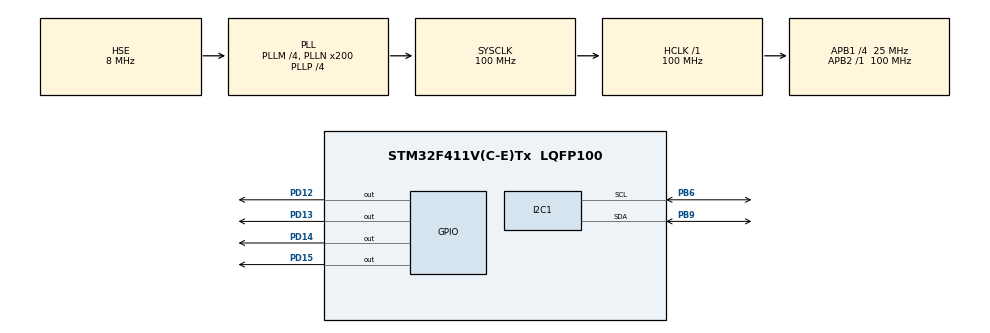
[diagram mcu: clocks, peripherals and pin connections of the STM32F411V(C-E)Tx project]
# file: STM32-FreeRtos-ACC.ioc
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FREERTOS.Tasks01=defaultTask,2,128,StartDefaultTask,Default,NULL,Dynamic,NULL,NULL;myTask02,0,128,StartTask02,Default,NULL,Dynamic,NULL,NULL
Mcu.Family=STM32F4
Mcu.Name=STM32F411V(C-E)Tx
Mcu.Package=LQFP100
NVIC.PriorityGroup=NVIC_PRIORITYGROUP_4
NVIC.TIM1_BRK_TIM9_IRQn=true\:0\:0\:false\:false\:true\:false\:false\:true
NVIC.TimeBase=TIM1_BRK_TIM9_IRQn
NVIC.TimeBaseIP=TIM9
PB6.Mode=I2C
PB6.Signal=I2C1_SCL
PB9.Mode=I2C
PB9.Signal=I2C1_SDA
PC14-OSC32_IN.Mode=LSE-External-Oscillator
PC14-OSC32_IN.Signal=RCC_OSC32_IN
PC15-OSC32_OUT.Mode=LSE-External-Oscillator
PC15-OSC32_OUT.Signal=RCC_OSC32_OUT
PD12.GPIO_Speed=GPIO_SPEED_FREQ_HIGH
PD12.Signal=GPIO_Output
PD13.GPIO_Speed=GPIO_SPEED_FREQ_HIGH
PD13.Signal=GPIO_Output
PD14.GPIO_Speed=GPIO_SPEED_FREQ_HIGH
PD14.Signal=GPIO_Output
PD15.GPIO_Speed=GPIO_SPEED_FREQ_HIGH
PD15.Signal=GPIO_Output
PH0\ -\ OSC_IN.Mode=HSE-External-Oscillator
PH0\ -\ OSC_IN.Signal=RCC_OSC_IN
PH1\ -\ OSC_OUT.Mode=HSE-External-Oscillator
PH1\ -\ OSC_OUT.Signal=RCC_OSC_OUT
ProjectManager.HeapSize=0x200
ProjectManager.StackSize=0x400
ProjectManager.TargetToolchain=MDK-ARM V5
RCC.48MHZClocksFreq_Value=100000000
RCC.AHBFreq_Value=100000000
RCC.APB1CLKDivider=RCC_HCLK_DIV4
RCC.APB1Freq_Value=25000000
RCC.APB1TimFreq_Value=50000000
RCC.APB2Freq_Value=100000000
RCC.APB2TimFreq_Value=100000000
RCC.CortexFreq_Value=100000000
RCC.HCLKFreq_Value=100000000
RCC.HSE_VALUE=8000000
RCC.HSI_VALUE=16000000
RCC.PLLM=4
RCC.PLLN=200
RCC.PLLP=RCC_PLLP_DIV4
RCC.PLLSourceVirtual=RCC_PLLSOURCE_HSE
RCC.SYSCLKFreq_VALUE=100000000
RCC.SYSCLKSource=RCC_SYSCLKSOURCE_PLLCLK
RCC.VCOOutputFreq_Value=400000000
VP_FREERTOS_VS_CMSIS_V1.Mode=CMSIS_V1
VP_SYS_VS_tim9.Mode=TIM9
board=custom

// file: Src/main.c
/* USER CODE BEGIN Header */
/**
  ******************************************************************************
  * @file           : main.c
  * @brief          : Main program body
  ******************************************************************************
  * @attention
  *
  * <h2><center>&copy; Copyright (c) 2019 STMicroelectronics.
  * All rights reserved.</center></h2>
  *
  * This software component is licensed by ST under Ultimate Liberty license
  * SLA0044, the "License"; You may not use this file except in compliance with
  * the License. You may obtain a copy of the License at:
  *                             www.st.com/SLA0044
  *
  ******************************************************************************
  */
/* USER CODE END Header */

#include "main.h"
#include "cmsis_os.h"

#include "math.h"
#include "limits.h"
/* USER CODE BEGIN Includes */
//Register
#define LSM303_ACC_ADDRESS (0x19 << 1) // address of accelerometer: 0011 001x
#define LSM303_ACC_CTRL_REG1_A 0x20 // settings register 1
#define LSM303_ACC_CTRL_REG3_A 0x22 // setting register 3
#define LSM303_ACC_Z_H_A 0x2D // higher byte of Z axis data
#define LSM303_ACC_Z_L_A 0x2C // lower byte of Z axis data
#define LSM303_ACC_X_L_A 0x28 // lower byte of X axis data

// to read more data at once
#define LSM303_ACC_Z_L_A_MULTI_READ (LSM303_ACC_Z_L_A | 0x80)

// to read more data at once
#define LSM303_ACC_X_L_A_MULTI_READ (LSM303_ACC_X_L_A | 0x80)

// Bit masks
// CTRL_REG1_A = [ODR3][ODR2][ODR1][ODR0][LPEN][ZEN][YEN][XEN]
#define LSM303_ACC_Z_ENABLE 0x04 // 0000 0100
#define LSM303_ACC_XYZ_ENABLE 0x07 // 0000 0111
#define LSM303_ACC_100HZ 0x50 //0101 0000
#define LSM303_ACC_1HZ 0x10 //0001 0000

// CTRL_REG3_A = [CLICK][AOI1][AOI2][DRDY_1][DRDY_2][WTM][OVERRUN][---]
#define LSM303_ACC_I1_DRDY1 0x10 //0001 0000
#define LSM303_ACC_I1_DRDY2 0x08 //0000 1000

#define LSM303_ACC_RESOLUTION 2.0 // Maximum value of measurable acceleration [g]

// Variables
uint8_t Data[6]; // Variable for direct data reading from the accelerometer
int16_t Xaxis = 0; // Contains a transformed form of data read from the X axis
int16_t Yaxis = 0; // Contains a transformed form of data read from the Y axis
int16_t Zaxis = 0; // Contains a transformed form of data read from the Z axis

float Xaxis_g = 0 ; // Contains the acceleration in the X axis, expanded to physical unit [g]
float Yaxis_g = 0; // Contains the acceleration in the Y axis, expanded to physical unit [g]
float Zaxis_g = 0; // Contains the acceleration in the Z axis, expanded to physical unit [g]

/* USER CODE END Includes */

I2C_HandleTypeDef hi2c1;

osThreadId defaultTaskHandle;
osThreadId myTask02Handle;

void SystemClock_Config(void);
static void MX_GPIO_Init(void);
static void MX_I2C1_Init(void);
void StartDefaultTask(void const * argument);
void StartTask02(void const * argument);

int main(void)
{

  /* MCU Configuration--------------------------------------------------------*/

  /* Reset of all peripherals, Initializes the Flash interface and the Systick. */
  HAL_Init();

  /* Configure the system clock */
  SystemClock_Config();

  /* Initialize all configured peripherals */
  MX_GPIO_Init();
  MX_I2C1_Init();

  /* Create the thread(s) */
  /* definition and creation of defaultTask */
  osThreadDef(defaultTask, StartDefaultTask, osPriorityHigh, 0, 128);
  defaultTaskHandle = osThreadCreate(osThread(defaultTask), NULL);

  /* definition and creation of myTask02 */
  osThreadDef(myTask02, StartTask02, osPriorityNormal, 0, 128);
  myTask02Handle = osThreadCreate(osThread(myTask02), NULL);

  /* Start scheduler */
  osKernelStart();

  /* We should never get here as control is now taken by the scheduler */

  /* Infinite loop */
  while (1)
  {

  }
}

void SystemClock_Config(void)
{
  RCC_OscInitTypeDef RCC_OscInitStruct = {0};
  RCC_ClkInitTypeDef RCC_ClkInitStruct = {0};

  /** Configure the main internal regulator output voltage
  */
  __HAL_RCC_PWR_CLK_ENABLE();
  __HAL_PWR_VOLTAGESCALING_CONFIG(PWR_REGULATOR_VOLTAGE_SCALE1);
  /** Initializes the CPU, AHB and APB busses clocks
  */
  RCC_OscInitStruct.OscillatorType = RCC_OSCILLATORTYPE_HSE;
  RCC_OscInitStruct.HSEState = RCC_HSE_ON;
  RCC_OscInitStruct.PLL.PLLState = RCC_PLL_ON;
  RCC_OscInitStruct.PLL.PLLSource = RCC_PLLSOURCE_HSE;
  RCC_OscInitStruct.PLL.PLLM = 4;
  RCC_OscInitStruct.PLL.PLLN = 200;
  RCC_OscInitStruct.PLL.PLLP = RCC_PLLP_DIV4;
  RCC_OscInitStruct.PLL.PLLQ = 4;
  if (HAL_RCC_OscConfig(&RCC_OscInitStruct) != HAL_OK)
  {
    Error_Handler();
  }
  /** Initializes the CPU, AHB and APB busses clocks
  */
  RCC_ClkInitStruct.ClockType = RCC_CLOCKTYPE_HCLK|RCC_CLOCKTYPE_SYSCLK
                              |RCC_CLOCKTYPE_PCLK1|RCC_CLOCKTYPE_PCLK2;
  RCC_ClkInitStruct.SYSCLKSource = RCC_SYSCLKSOURCE_PLLCLK;
  RCC_ClkInitStruct.AHBCLKDivider = RCC_SYSCLK_DIV1;
  RCC_ClkInitStruct.APB1CLKDivider = RCC_HCLK_DIV4;
  RCC_ClkInitStruct.APB2CLKDivider = RCC_HCLK_DIV1;

  if (HAL_RCC_ClockConfig(&RCC_ClkInitStruct, FLASH_LATENCY_3) != HAL_OK)
  {
    Error_Handler();
  }
}

static void MX_I2C1_Init(void)
{

  hi2c1.Instance = I2C1;
  hi2c1.Init.ClockSpeed = 100000;
  hi2c1.Init.DutyCycle = I2C_DUTYCYCLE_2;
  hi2c1.Init.OwnAddress1 = 0;
  hi2c1.Init.AddressingMode = I2C_ADDRESSINGMODE_7BIT;
  hi2c1.Init.DualAddressMode = I2C_DUALADDRESS_DISABLE;
  hi2c1.Init.OwnAddress2 = 0;
  hi2c1.Init.GeneralCallMode = I2C_GENERALCALL_DISABLE;
  hi2c1.Init.NoStretchMode = I2C_NOSTRETCH_DISABLE;
  if (HAL_I2C_Init(&hi2c1) != HAL_OK)
  {
    Error_Handler();
  }

}

static void MX_GPIO_Init(void)
{
  GPIO_InitTypeDef GPIO_InitStruct = {0};

  /* GPIO Ports Clock Enable */
  __HAL_RCC_GPIOC_CLK_ENABLE();
  __HAL_RCC_GPIOH_CLK_ENABLE();
  __HAL_RCC_GPIOD_CLK_ENABLE();
  __HAL_RCC_GPIOB_CLK_ENABLE();

  /*Configure GPIO pin Output Level */
  HAL_GPIO_WritePin(GPIOD, GPIO_PIN_12|GPIO_PIN_13|GPIO_PIN_14|GPIO_PIN_15, GPIO_PIN_RESET);

  /*Configure GPIO pins : PD12 PD13 PD14 PD15 */
  GPIO_InitStruct.Pin = GPIO_PIN_12|GPIO_PIN_13|GPIO_PIN_14|GPIO_PIN_15;
  GPIO_InitStruct.Mode = GPIO_MODE_OUTPUT_PP;
  GPIO_InitStruct.Pull = GPIO_NOPULL;
  GPIO_InitStruct.Speed = GPIO_SPEED_FREQ_HIGH;
  HAL_GPIO_Init(GPIOD, &GPIO_InitStruct);

}

int falldetect(void)
{
	float at = 0;
	HAL_I2C_Mem_Read(&hi2c1, LSM303_ACC_ADDRESS, LSM303_ACC_X_L_A_MULTI_READ, 1, Data, 6, 100);

	// Convert received data bytes to int16_t type
	Xaxis = ((Data[1] << 8) | Data[0]);
	Yaxis = ((Data[3] << 8) | Data[2]);
	Zaxis = ((Data[5] << 8) | Data[4]);

	// calculation of acceleration in each axis in the SI unit [g]
	Xaxis_g = ((float) Xaxis * LSM303_ACC_RESOLUTION) / (float) INT16_MAX;
	Yaxis_g = ((float) Yaxis * LSM303_ACC_RESOLUTION) / (float) INT16_MAX;
	Zaxis_g = ((float) Zaxis * LSM303_ACC_RESOLUTION) / (float) INT16_MAX;
  at = sqrt(Xaxis_g*Xaxis_g + Yaxis_g*Yaxis_g + Zaxis_g*Zaxis_g);
	if (at < 0.7)
		return 1;
	else
		return 0;
}
void StartDefaultTask(void const * argument)
{
      // Fill the configuration variable with the appropriate options
	uint8_t Settings = LSM303_ACC_XYZ_ENABLE | LSM303_ACC_100HZ;

  // Enter the configuration in the accelerometer register
	HAL_I2C_Mem_Write(&hi2c1, LSM303_ACC_ADDRESS, LSM303_ACC_CTRL_REG1_A, 1, &Settings, 1, 100);

	Settings = LSM303_ACC_I1_DRDY2;
	HAL_I2C_Mem_Write(&hi2c1, LSM303_ACC_ADDRESS, LSM303_ACC_CTRL_REG3_A, 1, &Settings, 1, 100);

  /* USER CODE BEGIN 5 */
  /* USER CODE BEGIN 5 */
  /* Infinite loop */
  for(;;)
  {
		falldetect();
    osDelay(10);
  }
  /* USER CODE END 5 */
}

void StartTask02(void const * argument)
{
  /* USER CODE BEGIN StartTask02 */
	int i = 0;
  /* Infinite loop */
  for(;;)
  {
		while(falldetect() == 1) {
		for	(i = 0;i < 150;i++) {
		HAL_GPIO_TogglePin(GPIOD,GPIO_PIN_12|GPIO_PIN_13|GPIO_PIN_14|GPIO_PIN_15);
    osDelay(50);
		}
		}
		while(falldetect() == 0) {
			HAL_GPIO_TogglePin(GPIOD,GPIO_PIN_12|GPIO_PIN_13|GPIO_PIN_14|GPIO_PIN_15);
      osDelay(250);
			if (falldetect() == 1)
				break;

			osDelay(250);
			if (falldetect() == 1)
				break;
			HAL_GPIO_TogglePin(GPIOD,GPIO_PIN_12|GPIO_PIN_13|GPIO_PIN_14|GPIO_PIN_15);
			osDelay(250);
			if (falldetect() == 1)
			break;
			osDelay(250);
			if (falldetect() == 1)
				break;
		}
  }
  /* USER CODE END StartTask02 */
}

void HAL_TIM_PeriodElapsedCallback(TIM_HandleTypeDef *htim)
{
  if (htim->Instance == TIM9) {
    HAL_IncTick();
  }
}

void Error_Handler(void)
{
}

/************************ (C) COPYRIGHT STMicroelectronics *****END OF FILE****/
